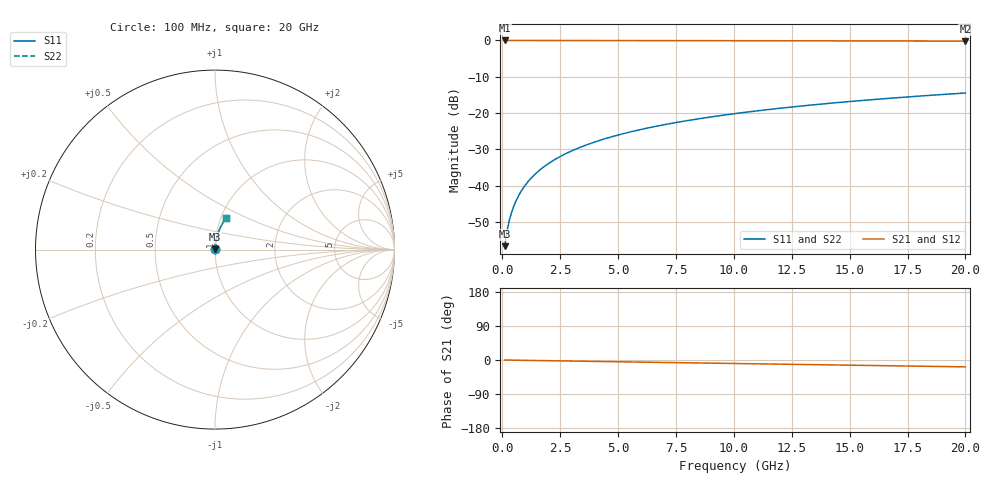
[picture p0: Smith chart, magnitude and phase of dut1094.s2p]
! Touchstone file exported from HFSS 2026.1.0
!  File:  C:/ffzhzh/LocalFiles/Ansys_Project_Files/temp_train_TMRDL_1094_1783161129_55132.aedt
!  Generated:  06:33:24 PM Jul  4, 2026
!  Design:  TMRDL
!  Project:  temp_train_TMRDL_1094_1783161129_55132
! Variables:
!  h_bsmrdl = 2um
!  h_ox = 20um
!  h_rdl = 5um
!  h_sub = 80um
!  h_tmrdl = 3.91um
!  h_tsv = 80um
!  h_via = 3um
!  l_bsmrdl = 300um
!  l_sub = 615.94um
!  l_tmrdl = 215.94um
!  m_sub = 200um
!  pitch = 55.99um
!  r_tsv = 6um
!  s_tmrdl = 10um
!  w_bsmrdl = 18um
!  w_sub = 500um
!  w_tmrdl = 25.02um
!  x_tsv_center1 = 228.45um
!  x_tsv_center2 = 546.45um
!  x_tsv_center3 = 787.41um
!  x_tsv_center4 = 1105.41um
!  x_tsv_center5 = 1346.37um
!  x_tsv_center6 = 1664.37um
# GHz S MA R 50.000000
! Terminal data exported
! Port[1] = TM_RDL1_1_T1
! Port[2] = TM_RDL1_1_T2
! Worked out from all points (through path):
!   200 points, 100 MHz to 20 GHz, reference 50 ohm
!   highest |S21| = -0.01 dB at 100 MHz (marker M1); lowest = -0.2 dB at 20 GHz (marker M2)
!   group delay of S21, straight-line fit = 2.52 ps
!   lowest |S11| = -56.6 dB at 100 MHz (marker M3), VSWR 1.00, Z = 50.1 + j0.109 ohm
!   |S11| at or under -10 dB: start of sweep to end of sweep
!   |S22| runs from -56.6 to -14.5 dB; largest |S21 - S12| = 2.3e-15
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0.1  0.001474 47.6  0.999 -0.1  0.999 -0.1  0.001474 47.6
! Gamma 0 0 0 0
! Port Impedance 50 0 50 0
0.2  0.002358 63.5  0.9989 -0.2  0.9989 -0.2  0.002359 63.5
0.3  0.003303 70.7  0.9989 -0.3  0.9989 -0.3  0.003305 70.7
0.4  0.004277 74.8  0.9988 -0.4  0.9988 -0.4  0.004278 74.8
0.5  0.005264 77.3  0.9988 -0.5  0.9988 -0.5  0.005264 77.3
0.7  0.007259 80.2  0.9988 -0.7  0.9988 -0.7  0.007258 80.2
0.8  0.00826 81.1  0.9987 -0.8  0.9987 -0.8  0.008259 81.1
1  0.01026 82.3  0.9987 -0.9  0.9987 -0.9  0.01026 82.3
1.2  0.01227 83.1  0.9986 -1.1  0.9986 -1.1  0.01227 83.1
1.4  0.01427 83.5  0.9986 -1.3  0.9986 -1.3  0.01427 83.5
1.7  0.01727 84.0  0.9985 -1.6  0.9985 -1.6  0.01727 84.0
2  0.02027 84.2  0.9984 -1.9  0.9984 -1.9  0.02027 84.2
2.7  0.02724 84.2  0.9981 -2.5  0.9981 -2.5  0.02723 84.2
3.5  0.03516 83.9  0.9977 -3.3  0.9977 -3.3  0.03516 83.9
4.2  0.04206 83.5  0.9972 -3.9  0.9972 -3.9  0.04206 83.5
5  0.0499 82.9  0.9967 -4.7  0.9967 -4.7  0.0499 82.9
6.8  0.06737 81.5  0.9952 -6.3  0.9952 -6.3  0.06737 81.5
8.3  0.08175 80.3  0.9938 -7.7  0.9938 -7.7  0.08175 80.3
10.1  0.09882 78.8  0.9919 -9.3  0.9919 -9.3  0.09882 78.8
13.4  0.1296 76.1  0.9878 -12.3  0.9878 -12.3  0.1296 76.1
16.7  0.1597 73.3  0.983 -15.2  0.983 -15.2  0.1597 73.3
20  0.1889 70.5  0.9774 -18.1  0.9774 -18.1  0.1889 70.5
